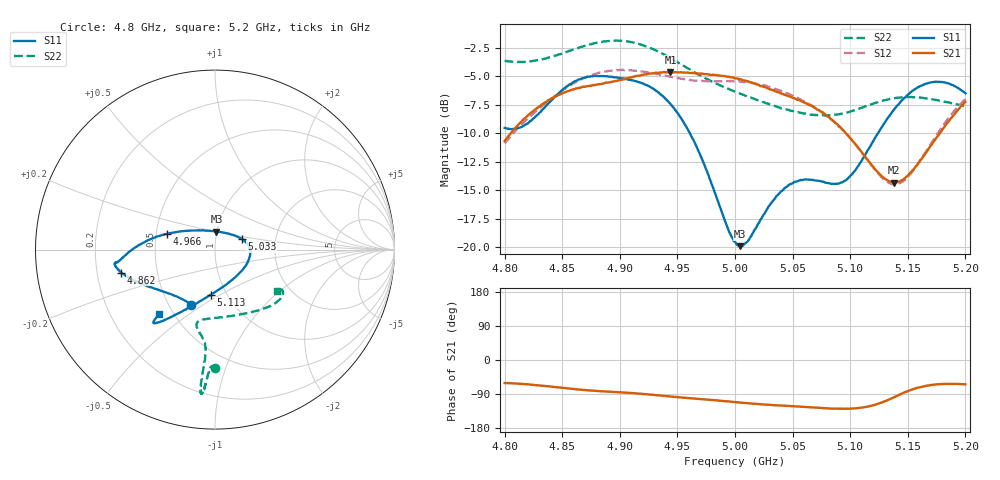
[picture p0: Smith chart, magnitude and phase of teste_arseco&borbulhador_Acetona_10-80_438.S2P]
! Network Analyzer HP8722D
! Hewlett-Packard
! Data name: Linha & Wilkinson
! Saver's name: Rodrigo Anjos
! Comments: Teste da utilização de aquisição
! continua pelo VNA HP8722D
! Time and date: 17/4/2025 18:00
!  Frequency  S11  S21  S12  S22
# HZ  S  MA R 50
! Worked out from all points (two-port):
!   401 points, 4.8 GHz to 5.2 GHz, reference 50 ohm
!   highest |S21| = -4.62 dB at 4.944 GHz (marker M1); lowest = -14.3 dB at 5.138 GHz (marker M2)
!   |S21| within 3 dB of the highest: 4.831 GHz to 5.067 GHz (236.4 MHz wide, 4.78 % of centre); 5.196472 GHz to end of sweep
!   lowest |S11| = -19.9 dB at 5.004 GHz (marker M3), VSWR 1.22, Z = 49.8 + j10.1 ohm
!   |S11| at or under -10 dB: 4.961 GHz to 5.124 GHz (163.3 MHz wide, 3.24 % of centre)
!   |S22| runs from -8.5 to -1.9 dB; largest |S21 - S12| = 0.88
!   S11 on the Smith chart (normalised r, x): 4.8 GHz: 0.65, -0.44; 4.862 GHz: 0.31, -0.11; 4.966 GHz: 0.57, +0.11; 5.033 GHz: 1.34, +0.16; 5.113 GHz: 0.84, -0.45; 5.2 GHz: 0.42, -0.39
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4.8e9  0.3334 -113.4  0.2919 -60.8  0.2856 -175.0  0.657 -90.1
4.819e9  0.3473 -133.6  0.3728 -64.2  0.3618 -173.7  0.6534 -91.7
4.862e9  0.5368 -166.2  0.4974 -77.1  0.5304 -176.9  0.7441 -93.9
4.867e9  0.5502 -168.2  0.505 -78.7  0.5464 -178.0  0.7589 -94.0
4.899e9  0.5527 -172.6  0.5389 -85.2  0.5992 175.4  0.8051 -95.4
4.934e9  0.476 -178.7  0.5822 -93.4  0.5754 171.9  0.718 -95.9
4.944e9  0.425 176.6  0.5876 -96.3  0.5579 171.9  0.6769 -95.7
4.966e9  0.2805 161.7  0.5788 -101.9  0.5382 173.8  0.5795 -95.2
5e9  0.1055 99.2  0.5507 -111.2  0.5346 176.1  0.4822 -99.3
5.004e9  0.1009 85.5  0.5476 -112.2  0.5339 176.2  0.4734 -100.3
5.012e9  0.1075 60.2  0.5321 -114.2  0.5275 176.0  0.4564 -101.9
5.033e9  0.1595 22.1  0.4881 -119.0  0.4998 174.7  0.418 -103.7
5.05e9  0.1906 4.7  0.4529 -121.9  0.4622 174.0  0.3957 -99.8
5.067e9  0.1974 -13.5  0.4161 -125.3  0.4178 173.6  0.381 -90.8
5.093e9  0.1927 -58.0  0.3295 -128.7  0.3282 174.2  0.3855 -70.6
5.113e9  0.2536 -95.6  0.2489 -124.3  0.2487 -179.8  0.4146 -54.9
5.134e9  0.3766 -116.7  0.1945 -103.8  0.1907 -156.7  0.4462 -43.0
5.138e9  0.4016 -119.1  0.1919 -98.4  0.1891 -150.4  0.4498 -41.2
5.151e9  0.4711 -124.8  0.2086 -80.9  0.2061 -130.5  0.4558 -36.4
5.17e9  0.5284 -129.2  0.2783 -66.0  0.2837 -112.3  0.4469 -32.0
5.184e9  0.5248 -130.6  0.3497 -63.1  0.3609 -107.2  0.4334 -31.0
5.2e9  0.4734 -130.9  0.434 -64.4  0.4466 -106.5  0.4157 -33.4
